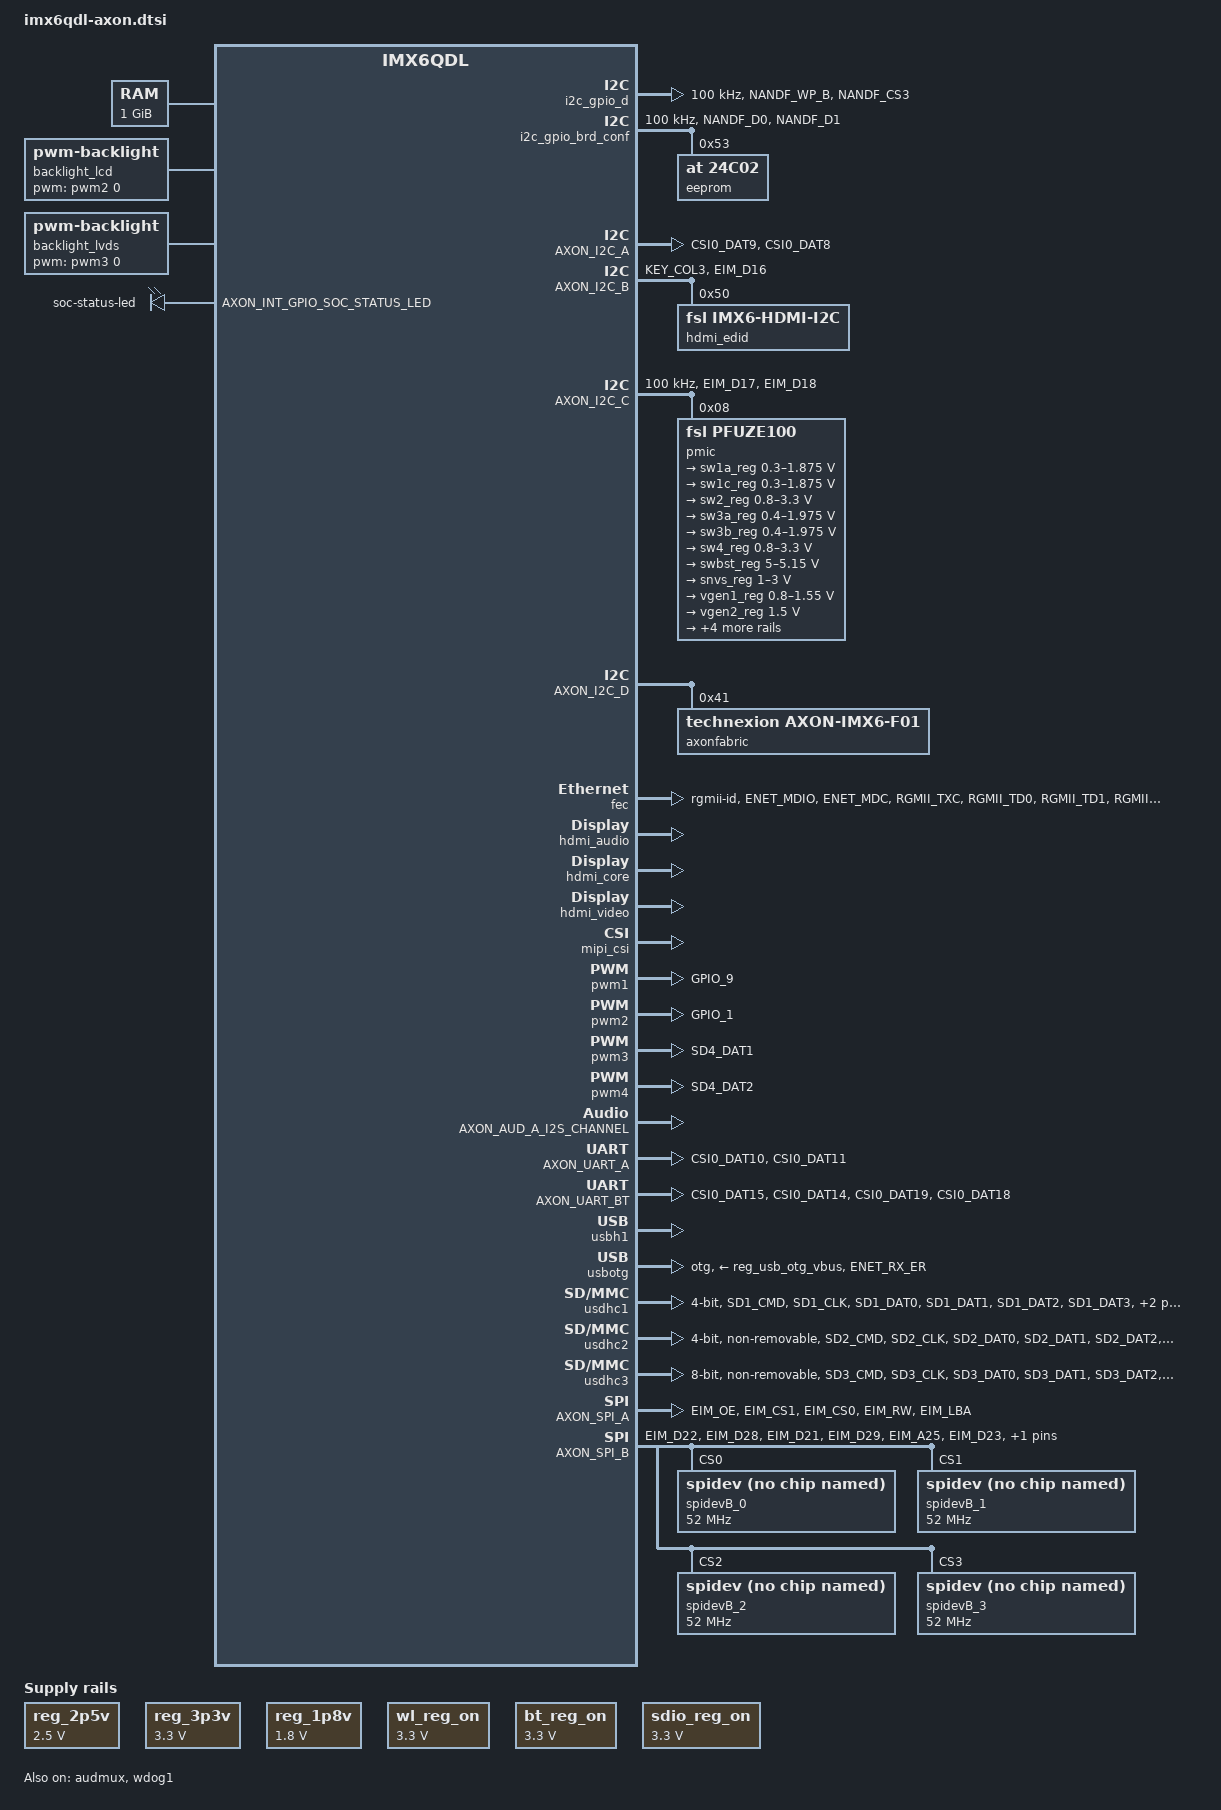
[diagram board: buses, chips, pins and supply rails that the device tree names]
/*
 * Copyright 2018 Technexion Ltd.
 *
 * Author: Tapani Utriainen <tapani@technexion.com>
 *         Richard Hu <richard.hu@technexion.com>
 * This program is free software; you can redistribute it and/or modify
 * it under the terms of the GNU General Public License version 2 as
 * published by the Free Software Foundation.
 *
 */

#include <dt-bindings/gpio/gpio.h>
#include "imx6qdl-axon-definitions.dtsi"

/ {
	aliases {
		mxcfb0 = &mxcfb1;
		mxcfb1 = &mxcfb2;
		mxcfb2 = &mxcfb3;
		mxcfb3 = &mxcfb4;
	};

	chosen {
		stdout-path = &uart1;
	};

	memory: memory {
		reg = <0x10000000 0x40000000>;
	};

	/* Optional use of gpio-reset device to control
	   the fabric reset. Be aware that using this device
	   delays the initialization of the axonfabric until
	   much later in the boot process */
	fabric_reset: fabric_reset {
		compatible = "gpio-reset";
		pinctrl-names = "default";
		pinctrl-0 = <&pinctrl_fabric_reset>;
		reset-gpios = <AXON_INT_GPIO_FABRIC_RESET_N GPIO_ACTIVE_LOW>;
		reset-delay-us = <2000>;
		#reset-cells = <0>;
		status="disabled";
	};

	regulators {
		compatible = "simple-bus";
		#address-cells = <1>;
		#size-cells = <0>;

		reg_2p5v: regulator@0 {
			compatible = "regulator-fixed";
			reg = <0>;
			regulator-name = "2P5V";
			regulator-min-microvolt = <2500000>;
			regulator-max-microvolt = <2500000>;
			regulator-always-on;
		};

		reg_3p3v: regulator@1 {
			compatible = "regulator-fixed";
			reg = <1>;
			regulator-name = "3P3V";
			regulator-min-microvolt = <3300000>;
			regulator-max-microvolt = <3300000>;
			regulator-always-on;
		};

		reg_1p8v: 1p8v {
			compatible = "regulator-fixed";
			reg = <2>;
			regulator-name = "1P8V";
			regulator-min-microvolt = <1800000>;
			regulator-max-microvolt = <1800000>;
			regulator-always-on;
		};

		wl_reg_on: wlreg_on {
			compatible = "regulator-fixed";
			regulator-min-microvolt = <3300000>;
			regulator-max-microvolt = <3300000>;
			regulator-name = "wlreg_on";
			pinctrl-names = "default";
			pinctrl-0 = <&pinctrl_wifi_ctrl>;
			gpio = <AXON_INT_GPIO_WL_REG_ON GPIO_ACTIVE_HIGH>;
			enable-active-high;
			regulator-always-on;
		};

		bt_reg_on: btreg_on {
			compatible = "regulator-fixed";
			regulator-min-microvolt = <3300000>;
			regulator-max-microvolt = <3300000>;
			regulator-name = "btreg_on";
			pinctrl-names = "default";
			pinctrl-0 = <&pinctrl_bt_ctrl>;
			gpio = <AXON_INT_GPIO_BT_REG_ON GPIO_ACTIVE_HIGH>;
			enable-active-high;
			regulator-always-on;
		};

		sdio_reg_on: sdioreg_on {
			compatible = "regulator-fixed";
			regulator-min-microvolt = <3300000>;
			regulator-max-microvolt = <3300000>;
			regulator-name = "sdioreg_on";
			pinctrl-names = "default";
			pinctrl-0 = <&pinctrl_sdioreg_ctrl>;
			gpio = <AXON_INT_GPIO_SDIO_REG_ON GPIO_ACTIVE_HIGH>;
			enable-active-high;
			regulator-always-on;
		};

		reg_usdhc1_vmmc: regulator-usdhc1 {
			compatible = "regulator-fixed";
			pinctrl-names = "default";
			pinctrl-0 = <&pinctrl_usdhc1_pwr>;
			regulator-name = "SD_3V3";
			regulator-min-microvolt = <3300000>;
			regulator-max-microvolt = <3300000>;
			gpio = <AXON_EXT_GPIO_X2_P24 GPIO_ACTIVE_HIGH>;
			off-on-delay = <20000>;
			enable-active-high;
			status = "disabled";
		};
	};

	sound-hdmi {
		compatible = "fsl,imx6q-audio-hdmi", "fsl,imx-audio-hdmi";
		model = "imx-audio-hdmi";
		hdmi-controller = <&hdmi_audio>;
	};

	mxcfb1: fb@0 {
		compatible = "fsl,mxc_sdc_fb";
		disp_dev = "ldb";
		interface_pix_fmt = "RGB24";
		default_bpp = <32>;
		int_clk = <0>;
		late_init = <0>;
		status = "okay";
	};

	mxcfb2: fb@1 {
		compatible = "fsl,mxc_sdc_fb";
		disp_dev = "hdmi";
		interface_pix_fmt = "RGB24";
		mode_str ="1920x1080M@60";
		default_bpp = <32>;
		int_clk = <0>;
		late_init = <0>;
		status = "okay";
	};

	mxcfb3: fb@2 {
		status = "disabled";
	};

	mxcfb4: fb@3 {
		compatible = "fsl,mxc_sdc_fb";
		disp_dev = "ldb";
		interface_pix_fmt = "RGB24";
		default_bpp = <32>;
		int_clk = <0>;
		late_init = <0>;
		status = "disabled";
	};

	lcd@0 {
		compatible = "fsl,lcd";
		ipu_id = <0>;
		disp_id = <0>;
		default_ifmt = "RGB24";
		pinctrl-names = "default";
		pinctrl-0 = <&pinctrl_ipu1>;
		status = "okay";
	};

	backlight_lcd {
		compatible = "pwm-backlight";
		pwms = <&pwm2 0 50000>;
		brightness-levels = <0 36 72 108 144 180 216 255>;
		default-brightness-level = <6>;
	};

	backlight_lvds {
		compatible = "pwm-backlight";
		pwms = <&pwm3 0 5000000>;
		brightness-levels = <0 4 8 16 32 64 128 255>;
		default-brightness-level = <7>;
	};

	v4l2_cap_0 {
		compatible = "fsl,imx6q-v4l2-capture";
		ipu_id = <0>;
		csi_id = <0>;
		mclk_source = <0>;
		status = "okay";
	};

	v4l2_out {
		compatible = "fsl,mxc_v4l2_output";
		status = "okay";
	};

	i2c_gpio_d: i2c_gpio_d {
		compatible = "i2c-gpio";
		#address-cells = <1>;
		#size-cells = <0>;
		pinctrl-names = "default";
		pinctrl-0 = <&pinctrl_axon_i2c_d>;
		gpios = <
			AXON_I2C_D_SDA GPIO_ACTIVE_HIGH /* SDA */
			AXON_I2C_D_SCL GPIO_ACTIVE_HIGH /* SCL */
		>;

		clock-frequency = <100000>;
		status = "okay";

	};

	i2c_gpio_brd_conf: i2c_gpio_brd_conf {
		compatible = "i2c-gpio";
		#address-cells = <1>;
		#size-cells = <0>;
		pinctrl-names = "default";
		pinctrl-0 = <&pinctrl_axon_i2c_brd_conf>;
		gpios = <
			AXON_I2C_BRD_CONF_SDA GPIO_ACTIVE_HIGH /* SDA */
			AXON_I2C_BRD_CONF_SCL GPIO_ACTIVE_HIGH /* SCL */
		>;
		clock-frequency = <100000>;
		status = "okay";

		eeprom: eeprom@53 {
			compatible = "at,24c02";
			reg = <0x53>;
		};
	};

	/* SOC Status LED */
	soc-status-led {
		compatible = "gpio-leds";
		led {
			label = "soc-status-led";
			gpios = <AXON_INT_GPIO_SOC_STATUS_LED GPIO_ACTIVE_HIGH>;
			dir   = "out";
		};
	};
};

&snvs_poweroff {
	status = "okay";
};

&audmux {
	pinctrl-names = "default";
	pinctrl-0 = <&pinctrl_audmux>;
	status = "okay";
};

&AXON_I2C_A {
	pinctrl-names = "default";
	pinctrl-0 = <&pinctrl_axon_i2c_a>;
	status = "okay";
};

&AXON_I2C_B {
	pinctrl-names = "default";
	pinctrl-0 = <&pinctrl_axon_i2c_b>;
	status = "okay";

	hdmi_edid: edid@50 {
		compatible = "fsl,imx6-hdmi-i2c";
		reg = <0x50>;
	};
};

&AXON_I2C_C {
    clock-frequency = <100000>;
	pinctrl-names = "default";
	pinctrl-0 = <&pinctrl_axon_i2c_c>;
	status = "okay";

	pmic: pfuze100@08 {
		compatible = "fsl,pfuze100";
		reg = <0x08>;

		regulators {
			sw1a_reg: sw1ab {
				regulator-min-microvolt = <300000>;
				regulator-max-microvolt = <1875000>;
				regulator-boot-on;
				regulator-always-on;
				regulator-ramp-delay = <6250>;
			};

			sw1c_reg: sw1c {
				regulator-min-microvolt = <300000>;
				regulator-max-microvolt = <1875000>;
				regulator-boot-on;
				regulator-always-on;
				regulator-ramp-delay = <6250>;
			};

			sw2_reg: sw2 {
				regulator-min-microvolt = <800000>;
				regulator-max-microvolt = <3300000>;
				regulator-boot-on;
				regulator-always-on;
				regulator-ramp-delay = <6250>;
			};

			sw3a_reg: sw3a {
				regulator-min-microvolt = <400000>;
				regulator-max-microvolt = <1975000>;
				regulator-boot-on;
				regulator-always-on;
			};

			sw3b_reg: sw3b {
				regulator-min-microvolt = <400000>;
				regulator-max-microvolt = <1975000>;
				regulator-boot-on;
				regulator-always-on;
			};

			sw4_reg: sw4 {
				regulator-min-microvolt = <800000>;
				regulator-max-microvolt = <3300000>;
			};

			swbst_reg: swbst {
				regulator-min-microvolt = <5000000>;
				regulator-max-microvolt = <5150000>;
			};

			snvs_reg: vsnvs {
				regulator-min-microvolt = <1000000>;
				regulator-max-microvolt = <3000000>;
				regulator-boot-on;
				regulator-always-on;
			};

			vref_reg: vrefddr {
				regulator-boot-on;
				regulator-always-on;
			};

			vgen1_reg: vgen1 {
				regulator-min-microvolt = <800000>;
				regulator-max-microvolt = <1550000>;
			};

			vgen2_reg: vgen2 {
				regulator-min-microvolt = <1500000>;
				regulator-max-microvolt = <1500000>;
				regulator-boot-on;
				regulator-always-on;
			};

			vgen3_reg: vgen3 {
				regulator-min-microvolt = <1800000>;
				regulator-max-microvolt = <3300000>;
				regulator-always-on;
			};

			vgen4_reg: vgen4 {
				regulator-min-microvolt = <1800000>;
				regulator-max-microvolt = <3300000>;
				regulator-always-on;
			};

			vgen5_reg: vgen5 {
				regulator-min-microvolt = <1800000>;
				regulator-max-microvolt = <3300000>;
				regulator-always-on;
			};

			vgen6_reg: vgen6 {
				regulator-min-microvolt = <1800000>;
				regulator-max-microvolt = <3300000>;
				regulator-always-on;
			};
		};
	};
};

&gpio1 {
	gpio-line-names =
		"AUD_B_MCLK", "PWM_X2_P79", "", "GPIO_X3_P69", "FABRIC_GPIO_INT0_N", "FABRIC_GPIO_INT1_N", "GPIO_X3_P67", "CAN_A_TX",
		"CAN_A_RX", "PWM_X1_P39", "", "", "", "", "", "",
		"", "", "", "", "", "", "", "",
		"", "", "", "", "", "", "", "";
};

&gpio2 {
	gpio-line-names =
		"BRD_CONF_SCL", "BRD_CONF_SDA", "", "", "", "", "", "",
		"GPIO_X4_P7", "PWM_X4_P1", "PWM_X4_P2", "DISP0_VDD_EN", "UART_B_RXD", "UART_B_RTS", "UART_B_CTS", "UART_B_TXD",
		"SDIO_REG_ON", "FABRIC_RESET_N", "", "", "", "WL_REG_ON", "SPI_B_CORE_CS_N", "SPI_A_SCLK",
		"SPI_A_MOSI", "SPI_A_MISO", "SPI_A_CS0", "SPI_A_CS1", "GPIO_X1_P68", "GPIO_X1_P70", "", "";
};

&gpio3 {
	gpio-line-names =
		"", "", "", "", "", "", "", "",
		"", "", "", "", "", "", "", "",
		"", "", "", "UART_A_CTS", "UART_A_RTS", "SPI_B_SCLK", "SPI_B_MISO", "SPI_B_FABRIC_CS_N",
		"AUD_B_RXFS", "AUD_B_RXC", "GPIO_X1_P74", "GPIO_X1_P76", "SPI_B_MOSI", "SPI_B_CS0", "GPIO_X1_P78", "GPIO_X1_P80";
};

&gpio4 {
	gpio-line-names =
		"", "", "", "", "", "GPIO_X3_P65", "AUD_B_TXC", "AUD_B_TXD",
		"AUD_B_TXFS", "AUD_B_RXD", "FABRIC_DONE", "", "", "", "CAN_B_TX", "CAN_B_RX",
		"DISP0_CLK", "DISP0_DE", "DISP0_HSYNC", "DISP0_VSYNC", "DISP0_BLT_EN", "DISP0_DAT0", "DISP0_DAT1", "DISP0_DAT2",
		"DISP0_DAT3", "DISP0_DAT4", "DISP0_DAT5", "DISP0_DAT6", "DISP0_DAT7", "DISP0_DAT8", "DISP0_DAT9", "DISP0_DAT10";
};

&gpio5 {
	gpio-line-names =
		"GPIO_X1_P72", "", "SPI_B_CS1", "", "GPIO_X1_P66", "DISP0_DAT11", "DISP0_DAT12", "DISP0_DAT13",
		"DISP0_DAT14", "DISP0_DAT15", "DISP0_DAT16", "DISP0_DAT17", "DISP0_DAT18", "DISP0_DAT19", "DISP0_DAT20", "DISP0_DAT21",
		"DISP0_DAT22", "DISP0_DAT23", "GPIO_X2_P20", "GPIO_X2_P18", "GPIO_X2_P24", "GPIO_X2_P22", "AUD_A_TXCLK", "AUD_A_TXD",
		"AUD_A_TXFS", "AUD_A_RXD", "", "", "UART_A_TXD", "UART_A_RXD", "UART_C_RXD", "UART_C_TXD";
};

&gpio6 {
	gpio-line-names =
		"UART_BT_RXD", "UART_BT_TXD", "UART_C_CTS", "UART_C_RTS", "UART_BT_CTS", "UART_BT_RTS", "BT_REG_ON", "GPIO_X4_P20",
		"GPIO_X4_P19", "", "GPIO_X4_P34", "GPIO_X3_P71", "", "", "SOC_STATUS_LED", "GPIO_X4_P40",
		"", "", "", "", "", "", "", "",
		"", "", "", "", "", "", "", "PMIC_INT_N";
};

&gpio7 {
	gpio-line-names =
		"", "", "", "", "", "", "", "",
		"", "GPIO_X4_P8", "GPIO_X4_P32", "WL_HOST_WAKE", "BT_HOST_WAKE", "", "", "",
		"", "", "", "", "", "", "", "",
		"", "", "", "", "", "", "", "";
};

&AXON_I2C_D {  // I2C_D
	axonfabric: axonfabric@41 {
		reg = <0x41>;
		pinctrl-names = "default";
		compatible = "technexion,axon-imx6-f01";
		pinctrl-0 = <&pinctrl_fabric_reset>;
		reset-gpios = <AXON_INT_GPIO_FABRIC_RESET_N GPIO_ACTIVE_LOW>;
		gpio-controller;
		#gpio-cells = <2>;
		gpio-line-names =
		"F_GPIO_X1_P66", "F_GPIO_X1_P68", "F_GPIO_X1_P70", "F_GPIO_X1_P72", // Bank 0
		"F_GPIO_X1_P74", "F_GPIO_X1_P76", "F_GPIO_X1_P78", "F_GPIO_X1_P80", // Bank 0
		"F_GPIO_X2_P18", "F_GPIO_X2_P20", "F_GPIO_X2_P22", "F_GPIO_X2_P24", // Bank 1
		"F_GPIO_X3_P65", "F_GPIO_X3_P67", "F_GPIO_X3_P69", "F_GPIO_X3_P71", // Bank 1
		"F_GPIO_X4_P7", "F_GPIO_X4_P8", "F_GPIO_X4_P19", "F_GPIO_X4_P20",   // Bank 2
		"F_GPIO_X4_P32", "F_GPIO_X4_P34", "F_GPIO_X4_P40", "",              // Bank 2
		"F_DISP_DAT00", "F_DISP_DAT01", "F_DIST_DAT02", "F_DISP_DAT03",     // Bank 3
		"F_DISP_DAT04", "F_DISP_DAT05", "F_DIST_DAT06", "F_DISP_DAT07",     // Bank 3
		"F_DISP_DAT08", "F_DISP_DAT09", "F_DIST_DAT10", "F_DISP_DAT11",     // Bank 4
		"F_DISP_DAT12", "F_DISP_DAT13", "F_DIST_DAT14", "F_DISP_DAT15",     // Bank 4
		"F_DISP_DAT16", "F_DISP_DAT17", "F_DIST_DAT18", "F_DISP_DAT19",     // Bank 5
		"F_DISP_DAT20", "F_DISP_DAT21", "F_DIST_DAT22", "F_DISP_DAT23",     // Bank 5
		"F_DISP_HSYNC", "F_DISP_VSYNC", "F_DISP_CLK", "F_DISP_BKLEN",       // Bank 6
		"F_DISP_DRDY", "", "", "",                                          // Bank 6
		"F_UART_A_TXD", "F_UART_A_RXD", "F_UART_A_RTS", "F_UART_A_CTS",     // Bank 7
		"F_UART_B_TXD", "F_UART_B_RXD", "F_UART_B_RTS", "F_UART_B_CTS",     // Bank 7
		"F_UART_C_TXD", "F_UART_C_RXD", "F_UART_C_RTS", "F_UART_C_CTS",     // Bank 8
		"F_AUD_A_TXD", "F_AUD_A_TXFS", "F_AUD_A_TXCLK", "F_AUD_A_RXD",      // Bank 8
		"F_SPI_A_MISO", "F_SPI_A_MOSI", "F_SPI_A_SCLK", "F_SPI_A_CS0",      // Bank 9
		"F_SPI_A_CS1", "F_PWM_X1_P39", "F_PWM_X2_P79", "",                  // Bank 9
		"F_SPI_B_MISO", "F_SPI_B_MOSI", "F_SPI_B_SCLK", "F_SPI_B_CS0",      // Bank 10
		"F_SPI_B_CS1", "F_PWM_X4_P1", "F_PWM_X4_P2", "",                    // Bank 10
		"F_UART_BT_TXD", "F_UART_BT_RXD", "F_UART_BT_RTS", "F_UART_BT_CTS", // Bank 11
		"F_CAN_A_TX", "F_CAN_A_RX", "F_CAN_B_TX", "F_CAN_B_RX",             // Bank 11
		"F_AUD_B_TXD", "F_AUD_B_TXFS", "F_AUD_B_TXCLK", "F_AUD_B_RXD",      // Bank 12
		"F_AUD_B_RXFS", "F_AUD_B_RXCLK", "F_AUD_B_MCLK", "";                // Bank 12
		status="okay";
		pinmux_axonfabric: pinmux {
			status = "okay";

 			// SPI_A
			pinctrl_af_spi_a_out: pcspia_out {
				pins = "F_SPI_A_MOSI", "F_SPI_A_SCLK", "F_SPI_A_CS0", "F_SPI_A_CS1"; function = "passthru_out";
				drive-push-pull;
			};

			pinctrl_af_spi_a_in: pcspia_in {
				pins = "F_SPI_A_MISO"; function = "passthru_in"; drive-push-pull;
			};

			// SPI_B
			pinctrl_af_spi_b_out: pcspib_out {
				pins = "F_SPI_B_MOSI", "F_SPI_B_SCLK", "F_SPI_B_CS0", "F_SPI_B_CS1"; function = "passthru_out";
				drive-push-pull;
			};

			pinctrl_af_spi_b_in: pcspib_in {
				pins = "F_SPI_B_MISO"; function = "passthru_in"; drive-push-pull;
			};

			// UART_B
			pinctrl_af_uart_b_txd: pcuartb_txd {
				pins = "F_UART_B_TXD"; function = "passthru_out"; drive-push-pull;
			};

			pinctrl_af_uart_b_rxd: pcuartb_rxd {
				pins = "F_UART_B_RXD"; function = "passthru_in"; drive-push-pull;
			};

			// UART_C
			pinctrl_af_uart_c_txd: pcuartc_txd {
				pins = "F_UART_C_TXD"; function = "passthru_out"; drive-push-pull;
			};

			pinctrl_af_uart_c_rxd: pcuartc_rxd {
				pins = "F_UART_C_RXD"; function = "passthru_in"; drive-push-pull;
			};

			// UART_BT
			pinctrl_af_uart_bt_out: pcuartbt_out {
				pins = "F_UART_BT_TXD", "F_UART_BT_CTS"; function = "passthru_out";
				drive-push-pull;
			};

			pinctrl_af_uart_bt_in: pcuartbt_in {
				pins = "F_UART_BT_RXD", "F_UART_BT_RTS"; function = "passthru_in";
				drive-push-pull;
			};
		};
		gpio_axonfabric: gpio_axonfabric {
			status = "okay";
			compatible = "technexion,axonfabric-gpio";
			pinctrl-names = "default";
			pinctrl-0 = <&pinmux_axonfabric>;
		};
	};
};

&iomuxc {
	pinctrl-names = "default";

	imx6qdl-axon {

		pinctrl_fabric_reset: fabric_resetgrp {
			fsl,pins = <
				MX6QDL_PAD_EIM_A21__GPIO2_IO17     0x000b0 /* RESV_GPIO0 */
			>;
		};

		pinctrl_wifi_ctrl: wifi_ctrlgrp {
			fsl,pins = <
				MX6QDL_PAD_EIM_A17__GPIO2_IO21			0x000b0		  /* WL_REG_ON, EIM_A17 */
				//MX6QDL_PAD_GPIO_16__GPIO7_IO11			0x80000000	/* WL_HOST_WAKE, GPIO_16 */
				//MX6QDL_PAD_ENET_RXD0__XTALOSC_REF_CLK_32K	0x000b0	/* SOC_CLK_32KHZ */
			>;
		};

		pinctrl_bt_ctrl: bt_ctrlgrp {
			fsl,pins = <
				MX6QDL_PAD_EIM_A23__GPIO6_IO06		0x000b0		/* BT_REG_ON, EIM_A23 */
				//MX6QDL_PAD_GPIO_17__GPIO7_IO12   	0x000b0		/* BT_HOST_WAKE, GPIO_17 */
			>;
		};

		pinctrl_sdioreg_ctrl: sdio_ctrlgrp {
			fsl,pins = <
				MX6QDL_PAD_EIM_A22__GPIO2_IO16       0x000b0     /* SDIO_REG_ON, EIM_A22 */
			>;
		};


		pinctrl_pcie_a_reset: pcieagrp {
			fsl,pins = <
				MX6QDL_PAD_ENET_TXD1__GPIO1_IO29 	0x130b0		/* PCIE_A_RST_n */
			>;
		};

		pinctrl_audmux: audmuxgrp {
			fsl,pins = <
				MX6QDL_PAD_CSI0_DAT7__AUD3_RXD		0x130b0   /* AUD_A_RXD */
				MX6QDL_PAD_CSI0_DAT4__AUD3_TXC		0x130b0   /* AUD_A_TXCLK */
				MX6QDL_PAD_CSI0_DAT5__AUD3_TXD		0x110b0   /* AUD_A_TXD */
				MX6QDL_PAD_CSI0_DAT6__AUD3_TXFS		0x130b0   /* AUD_A_TXFS */
			>;
		};

		/* Note for MISO signals between fabric and SOC. It was noticed that the SOC
		   drives its MISO signals even when in master mode. This should not occur, and
		   can cause contention on the signal between the SOC and the fabric. The issue
		   needs to isolated in the spi-imx driver. However, in absence of we can remove
		   the ability of the pad to output a logic value by configuring its DSE bits
		   to 0x00, which forces the output driver into high impedance state */
		pinctrl_axon_spi_a: ecspi2grp {
			fsl,pins = <
				MX6QDL_PAD_EIM_OE__ECSPI2_MISO		0x03000   /* SPI_A_MISO */
				MX6QDL_PAD_EIM_CS1__ECSPI2_MOSI		0x1b0b1   /* SPI_A_MOSI */
				MX6QDL_PAD_EIM_CS0__ECSPI2_SCLK		0x1b0b1   /* SPI_A_SCLK */
				MX6QDL_PAD_EIM_RW__GPIO2_IO26		0x000f0b0   /* SPI_A_CS0 */
				MX6QDL_PAD_EIM_LBA__GPIO2_IO27		0x000f0b0 /* SPI_A_CS1 */
			>;
		};

		pinctrl_axon_spi_b: ecspi4grp {
			fsl,pins = <
				MX6QDL_PAD_EIM_D22__ECSPI4_MISO		0x03000   /* SPI_B_MISO */
				MX6QDL_PAD_EIM_D28__ECSPI4_MOSI		0x100b1   /* SPI_B_MOSI */
				MX6QDL_PAD_EIM_D21__ECSPI4_SCLK		0x100b1   /* SPI_B_SCLK */
				MX6QDL_PAD_EIM_D29__GPIO3_IO29		0x000f0b0 /* SPI_B_CS0 */
				MX6QDL_PAD_EIM_A25__GPIO5_IO02		0x000f0b0 /* SPI_B_CS1 */
				MX6QDL_PAD_EIM_D23__GPIO3_IO23		0x000f0b0 /* SPI_B_FABRIC_CS_n */
				MX6QDL_PAD_EIM_A16__GPIO2_IO22		0x000f0b0 /* SPI_B_CORE_CS_n */
			>;
		};

		pinctrl_enet: enetgrp {
			fsl,pins = <
				MX6QDL_PAD_ENET_MDIO__ENET_MDIO		0x1b0b0
				MX6QDL_PAD_ENET_MDC__ENET_MDC		0x1b0b0
				MX6QDL_PAD_RGMII_TXC__RGMII_TXC		0x1b0b0
				MX6QDL_PAD_RGMII_TD0__RGMII_TD0		0x1b0b0
				MX6QDL_PAD_RGMII_TD1__RGMII_TD1		0x1b0b0
				MX6QDL_PAD_RGMII_TD2__RGMII_TD2		0x1b0b0
				MX6QDL_PAD_RGMII_TD3__RGMII_TD3		0x1b0b0
				MX6QDL_PAD_RGMII_TX_CTL__RGMII_TX_CTL	0x1b0b0
				MX6QDL_PAD_ENET_REF_CLK__ENET_TX_CLK	0x1b0b0
				MX6QDL_PAD_RGMII_RXC__RGMII_RXC		0x1b0b0
				MX6QDL_PAD_RGMII_RD0__RGMII_RD0		0x1b0b0
				MX6QDL_PAD_RGMII_RD1__RGMII_RD1		0x1b0b0
				MX6QDL_PAD_RGMII_RD2__RGMII_RD2		0x1b0b0
				MX6QDL_PAD_RGMII_RD3__RGMII_RD3		0x1b0b0
				MX6QDL_PAD_RGMII_RX_CTL__RGMII_RX_CTL	0x1b0b0
				MX6QDL_PAD_ENET_RXD1__GPIO1_IO26	0x1f0b1		/* RGMII PHY reset */
			>;
		};

		pinctrl_axon_i2c_a: i2c1grp {
			fsl,pins = <
				MX6QDL_PAD_CSI0_DAT9__I2C1_SCL 		0x4001b8b1  /* I2C_A_SCL */
				MX6QDL_PAD_CSI0_DAT8__I2C1_SDA 		0x4001b8b1  /* I2C_A_SDA */
			>;
		};

		pinctrl_axon_i2c_b: i2c2grp {
			fsl,pins = <
				MX6QDL_PAD_KEY_COL3__I2C2_SCL		0x4001b8b1    /* I2C_B_SCL */
				MX6QDL_PAD_EIM_D16__I2C2_SDA		0x4001b8b1    /* I2C_B_SDA */
			>;
		};

		pinctrl_axon_i2c_c: i2c3grp {
			fsl,pins = <
				MX6QDL_PAD_EIM_D17__I2C3_SCL		0x4001b8b1    /* I2C_C_SCL */
				MX6QDL_PAD_EIM_D18__I2C3_SDA		0x4001b8b1    /* I2C_C_SDA */
			>;
		};

		pinctrl_axon_i2c_d: i2c4grp {
			fsl,pins = <
				MX6QDL_PAD_NANDF_WP_B__GPIO6_IO09	0x4001b8b1  /* I2C_D_SCL, bitbang */
				MX6QDL_PAD_NANDF_CS3__GPIO6_IO16	0x4001b8b1  /* I2C_D_SDA, bitbang */
			>;
		};

		pinctrl_axon_i2c_brd_conf: i2cbrdconfgrp {
			fsl,pins = <
				MX6QDL_PAD_NANDF_D0__GPIO2_IO00	    0x4001b8b1  /* BRD_CONF_SCL, bitbang */
				MX6QDL_PAD_NANDF_D1__GPIO2_IO01 	0x4001b8b1  /* BRD_CONF_SDA, bitbang */
			>;
		};

		pinctrl_ipu1: ipu1grp {
			fsl,pins = <
				MX6QDL_PAD_DI0_DISP_CLK__IPU1_DI0_DISP_CLK 0x10
				MX6QDL_PAD_DI0_PIN15__IPU1_DI0_PIN15       0x10
				MX6QDL_PAD_DI0_PIN2__IPU1_DI0_PIN02        0x10
				MX6QDL_PAD_DI0_PIN3__IPU1_DI0_PIN03        0x10
				MX6QDL_PAD_DI0_PIN4__IPU1_DI0_PIN04        0x80000000
				MX6QDL_PAD_DISP0_DAT0__IPU1_DISP0_DATA00   0x10
				MX6QDL_PAD_DISP0_DAT1__IPU1_DISP0_DATA01   0x10
				MX6QDL_PAD_DISP0_DAT2__IPU1_DISP0_DATA02   0x10
				MX6QDL_PAD_DISP0_DAT3__IPU1_DISP0_DATA03   0x10
				MX6QDL_PAD_DISP0_DAT4__IPU1_DISP0_DATA04   0x10
				MX6QDL_PAD_DISP0_DAT5__IPU1_DISP0_DATA05   0x10
				MX6QDL_PAD_DISP0_DAT6__IPU1_DISP0_DATA06   0x10
				MX6QDL_PAD_DISP0_DAT7__IPU1_DISP0_DATA07   0x10
				MX6QDL_PAD_DISP0_DAT8__IPU1_DISP0_DATA08   0x10
				MX6QDL_PAD_DISP0_DAT9__IPU1_DISP0_DATA09   0x10
				MX6QDL_PAD_DISP0_DAT10__IPU1_DISP0_DATA10  0x10
				MX6QDL_PAD_DISP0_DAT11__IPU1_DISP0_DATA11  0x10
				MX6QDL_PAD_DISP0_DAT12__IPU1_DISP0_DATA12  0x10
				MX6QDL_PAD_DISP0_DAT13__IPU1_DISP0_DATA13  0x10
				MX6QDL_PAD_DISP0_DAT14__IPU1_DISP0_DATA14  0x10
				MX6QDL_PAD_DISP0_DAT15__IPU1_DISP0_DATA15  0x10
				MX6QDL_PAD_DISP0_DAT16__IPU1_DISP0_DATA16  0x10
				MX6QDL_PAD_DISP0_DAT17__IPU1_DISP0_DATA17  0x10
				MX6QDL_PAD_DISP0_DAT18__IPU1_DISP0_DATA18  0x10
				MX6QDL_PAD_DISP0_DAT19__IPU1_DISP0_DATA19  0x10
				MX6QDL_PAD_DISP0_DAT20__IPU1_DISP0_DATA20  0x10
				MX6QDL_PAD_DISP0_DAT21__IPU1_DISP0_DATA21  0x10
				MX6QDL_PAD_DISP0_DAT22__IPU1_DISP0_DATA22  0x10
				MX6QDL_PAD_DISP0_DAT23__IPU1_DISP0_DATA23  0x10
			>;
		};

		pinctrl_pwm1: pwm1grp {
			fsl,pins = <
				MX6QDL_PAD_GPIO_9__PWM1_OUT		0x1b0b1      /* PWM_X1_P39 */
			>;
		};

		pinctrl_pwm2: pwm2grp {
			fsl,pins = <
				MX6QDL_PAD_GPIO_1__PWM2_OUT		0x1b0b1      /* PWM_X2_P79 */
			>;
		};

		pinctrl_pwm3: pwm3grp {
			fsl,pins = <
				MX6QDL_PAD_SD4_DAT1__PWM3_OUT		0x1b0b1    /* PWM_X4_P1 */
			>;
		};

		pinctrl_pwm4: pwm4grp {
			fsl,pins = <
				MX6QDL_PAD_SD4_DAT2__PWM4_OUT		0x1b0b1    /* PWM_X4_P2 */
			>;
		};

		pinctrl_axon_uart_a: uart1grp {
				fsl,pins = <
						MX6QDL_PAD_CSI0_DAT10__UART1_TX_DATA    0x1b0b1 /* UART_A_TXD */
						MX6QDL_PAD_CSI0_DAT11__UART1_RX_DATA    0x1b0b1 /* UART_A_RXD */
				>;
		};

		pinctrl_axon_uart_a_rtscts: uart1rtsctsgrp {
			fsl,pins = <
				MX6QDL_PAD_CSI0_DAT10__UART1_TX_DATA	0x1b0b1 /* UART_A_TXD */
				MX6QDL_PAD_CSI0_DAT11__UART1_RX_DATA	0x1b0b1 /* UART_A_RXD */
				MX6QDL_PAD_EIM_D20__UART1_RTS_B         0x1b0b1 /* UART_A_RTS */
				MX6QDL_PAD_EIM_D19__UART1_CTS_B		0x1b0b1 /* UART_A_CTS */
			>;
		};

		pinctrl_axon_uart_b: uart2grp {
				fsl,pins = <
						MX6QDL_PAD_SD4_DAT4__UART2_RX_DATA      0x1b0b1   /* UART_B_RXD */
						MX6QDL_PAD_SD4_DAT7__UART2_TX_DATA      0x1b0b1   /* UART_B_TXD */
				>;
		};

		pinctrl_axon_uart_b_rtscts: uart2rtsctsgrp {
			fsl,pins = <
				MX6QDL_PAD_SD4_DAT4__UART2_RX_DATA	0x1b0b1   /* UART_B_RXD */
				MX6QDL_PAD_SD4_DAT5__UART2_RTS_B	0x1b0b1     /* UART_B_RTS */
				MX6QDL_PAD_SD4_DAT6__UART2_CTS_B	0x1b0b1     /* UART_B_CTS */
				MX6QDL_PAD_SD4_DAT7__UART2_TX_DATA	0x1b0b1   /* UART_B_TXD */
			>;
		};

		pinctrl_axon_uart_c: uart4grp {
			fsl,pins = <
				MX6QDL_PAD_CSI0_DAT13__UART4_TX_DATA    0x1b0b1 /* UART_C_TXD */
				MX6QDL_PAD_CSI0_DAT12__UART4_RX_DATA    0x1b0b1 /* UART_C_RXD */
			>;
		};

		pinctrl_axon_uart_c_rtscts: uart4rtsctsgrp {
			fsl,pins = <
				MX6QDL_PAD_CSI0_DAT13__UART4_TX_DATA	0x1b0b1 /* UART_C_TXD */
				MX6QDL_PAD_CSI0_DAT12__UART4_RX_DATA	0x1b0b1 /* UART_C_RXD */
				MX6QDL_PAD_CSI0_DAT16__UART4_CTS_B 		0x1b0b1 /* UART_C_RTS */
				MX6QDL_PAD_CSI0_DAT17__UART4_RTS_B		0x1b0b1 /* UART_C_CTS */
			>;
		};

		pinctrl_axon_uart_bt: uart5grp {
			fsl,pins = <
				MX6QDL_PAD_CSI0_DAT15__UART5_TX_DATA	0x1b0b1 /* UART_BT_TXD */
				MX6QDL_PAD_CSI0_DAT14__UART5_RX_DATA  0x1b0b1 /* UART_BT_RXD */
				MX6QDL_PAD_CSI0_DAT19__UART5_RTS_B    0x1b0b1 /* UART_BT_RTS */
				MX6QDL_PAD_CSI0_DAT18__UART5_CTS_B		0x1b0b1 /* UART_BT_CTS */
			>;
		};

		pinctrl_usbotg: usbotggrp {
			fsl,pins = <
				MX6QDL_PAD_ENET_RX_ER__USB_OTG_ID	0x17059     /* USB_A_ID */
			>;
		};

		pinctrl_usdhc1_pwr: usdhc1rstgrp {
			fsl,pins = <
				MX6QDL_PAD_CSI0_DATA_EN__GPIO5_IO20	0x4001b0b5   /* GPIO_X2_P24 */
			>;
		};

		pinctrl_usdhc1: usdhc1grp {
			fsl,pins = <
				MX6QDL_PAD_SD1_CMD__SD1_CMD		0x17071
				MX6QDL_PAD_SD1_CLK__SD1_CLK		0x17071
				MX6QDL_PAD_SD1_DAT0__SD1_DATA0		0x17071
				MX6QDL_PAD_SD1_DAT1__SD1_DATA1		0x17071
				MX6QDL_PAD_SD1_DAT2__SD1_DATA2		0x17071
				MX6QDL_PAD_SD1_DAT3__SD1_DATA3		0x17071
				MX6QDL_PAD_GPIO_2__GPIO1_IO02		0x80000000	/* USDHC1 CD */
			>;
		};

		pinctrl_usdhc2: usdhc2grp {
			fsl,pins = <
				MX6QDL_PAD_SD2_CMD__SD2_CMD		0x17059
				MX6QDL_PAD_SD2_CLK__SD2_CLK		0x10059
				MX6QDL_PAD_SD2_DAT0__SD2_DATA0		0x17059
				MX6QDL_PAD_SD2_DAT1__SD2_DATA1		0x17059
				MX6QDL_PAD_SD2_DAT2__SD2_DATA2		0x17059
				MX6QDL_PAD_SD2_DAT3__SD2_DATA3		0x17059
			>;
		};

		pinctrl_usdhc3: usdhc3grp {
			fsl,pins = <
				MX6QDL_PAD_SD3_CMD__SD3_CMD		0x17059
				MX6QDL_PAD_SD3_CLK__SD3_CLK		0x10059
				MX6QDL_PAD_SD3_DAT0__SD3_DATA0		0x17059
				MX6QDL_PAD_SD3_DAT1__SD3_DATA1		0x17059
				MX6QDL_PAD_SD3_DAT2__SD3_DATA2		0x17059
				MX6QDL_PAD_SD3_DAT3__SD3_DATA3		0x17059
				MX6QDL_PAD_SD3_DAT4__SD3_DATA4		0x17059
				MX6QDL_PAD_SD3_DAT5__SD3_DATA5		0x17059
				MX6QDL_PAD_SD3_DAT6__SD3_DATA6		0x17059
				MX6QDL_PAD_SD3_DAT7__SD3_DATA7		0x17059
			>;
		};

		pinctrl_flexcan1: flexcan1grp {
			fsl,pins = <
				MX6QDL_PAD_GPIO_7__FLEXCAN1_TX	0x80000000    /* CAN_A_TX */
				MX6QDL_PAD_GPIO_8__FLEXCAN1_RX 	0x80000000    /* CAN_A_RX */
			>;
		};

		pinctrl_flexcan2: flexcan2grp {
			fsl,pins = <
				MX6QDL_PAD_KEY_COL4__FLEXCAN2_TX	0x80000000  /* CAN_B_TX */
				MX6QDL_PAD_KEY_ROW4__FLEXCAN2_RX	0x80000000  /* CAN_B_RX */
			>;
		};

		pinctrl_mipi_csi: mipicsigrp {
			fsl,pins = <
				MX6QDL_PAD_GPIO_6__GPIO1_IO06		0x0b0b0		/* ov5640 mipi powerdown */
				MX6QDL_PAD_GPIO_19__GPIO4_IO05		0x0b0b0		/* ov5640 mipi reset */
				MX6QDL_PAD_GPIO_3__CCM_CLKO2		0x000b0		/* ov5640 mclk */
			>;
		};

		pinctrl_gpio_x1_p19: gpiox1p19grp {
			fsl,pins = <
				MX6QDL_PAD_EIM_D20__GPIO3_IO20      0x4001b0b5 /* GPIO_X1_P19 */
			>;
		};

		pinctrl_gpio_x1_p21: gpiox1p21grp {
			fsl,pins = <
				MX6QDL_PAD_EIM_D19__GPIO3_IO19      0x4001b0b5 /* GPIO_X1_P21 */
			>;
		};

		pinctrl_gpio_x1_p66: gpiox1p66grp {
			fsl,pins = <
				MX6QDL_PAD_EIM_A24__GPIO5_IO04	    0x4001b0b5 /* GPIO_X1_P66, EIM_A24 */
			>;
		};

		pinctrl_gpio_x1_p68: gpiox1p68grp {
			fsl,pins = <
				MX6QDL_PAD_EIM_EB0__GPIO2_IO28	    0x4001b0b5 /* GPIO_X1_P68, EIM_EB0 */
			>;
		};

		pinctrl_gpio_x1_p70: gpiox1p70grp {
			fsl,pins = <
				MX6QDL_PAD_EIM_EB1__GPIO2_IO29	    0x4001b0b5 /* GPIO_X1_P70, EIM_EB1 */
			>;
		};

		pinctrl_gpio_x1_p72: gpiox1p72grp {
			fsl,pins = <
				MX6QDL_PAD_EIM_WAIT__GPIO5_IO00	    0x4001b0b5 /* GPIO_X1_P72, EIM_WAIT */
			>;
		};

		pinctrl_gpio_x1_p74: gpiox1p74grp {
			fsl,pins = <
				MX6QDL_PAD_EIM_D26__GPIO3_IO26	    0x4001b0b5 /* GPIO_X1_P74 */
			>;
		};

		pinctrl_gpio_x1_p76: gpiox1p76grp {
			fsl,pins = <
				MX6QDL_PAD_EIM_D27__GPIO3_IO27	    0x4001b0b5 /* GPIO_X1_P76 */
			>;
		};

		pinctrl_gpio_x1_p78: gpiox1p78grp {
			fsl,pins = <
				MX6QDL_PAD_EIM_D30__GPIO3_IO30	    0x4001b0b5 /* GPIO_X1_P78 */
			>;
		};

		pinctrl_gpio_x1_p80: gpiox1p80grp {
			fsl,pins = <
				MX6QDL_PAD_EIM_D31__GPIO3_IO31  	0x4001b0b5 /* GPIO_X1_P80 */
			>;
		};

		pinctrl_gpio_x2_p18: gpiox2p18grp {
			fsl,pins = <
				MX6QDL_PAD_CSI0_MCLK__GPIO5_IO19    0x4001b0b5 /* GPIO_X2_P18 */
			>;
		};

		pinctrl_gpio_x2_p20: gpiox2p20grp {
			fsl,pins = <
				MX6QDL_PAD_CSI0_PIXCLK__GPIO5_IO18  0x4001b0b5 /* GPIO_X2_P20 */
			>;
		};

		pinctrl_gpio_x2_p22: gpiox2p22grp {
			fsl,pins = <
				MX6QDL_PAD_EIM_A19__GPIO2_IO19	    0x4001b0b5 /* GPIO_X2_P22 */
			>;
		};

		pinctrl_gpio_x2_p24: gpiox2p24grp {
			fsl,pins = <
				MX6QDL_PAD_CSI0_VSYNC__GPIO5_IO21   0x4001b0b5 /* GPIO_X2_P24 */
			>;
		};

		pinctrl_gpio_x3_p65: gpiox3p65grp {
			fsl,pins = <
				MX6QDL_PAD_GPIO_19__GPIO4_IO05	    0x4001b0b5 /* GPIO_X3_P65 */
			>;
		};

		pinctrl_gpio_x3_p67: gpiox3p67grp {
			fsl,pins = <
				MX6QDL_PAD_GPIO_6__GPIO1_IO06	    0x4001b0b5 /* GPIO_X3_P67 */
			>;
		};

		pinctrl_gpio_x3_p69: gpiox3p69grp {
			fsl,pins = <
				MX6QDL_PAD_GPIO_3__GPIO1_IO03	    0x4001b0b5 /* GPIO_X3_P69 */
			>;
		};

		pinctrl_gpio_x3_p71: gpiox3p71grp {
			fsl,pins = <
				MX6QDL_PAD_NANDF_CS0__GPIO6_IO11    0x4001b0b5 /* GPIO_X3_P71 */
			>;
		};
	};
};

&clks {
	fsl,ldb-di0-parent = <&clks IMX6QDL_CLK_PLL2_PFD0_352M>;
	fsl,ldb-di1-parent = <&clks IMX6QDL_CLK_PLL2_PFD0_352M>;
};

&fec {
	pinctrl-names = "default";
	pinctrl-0 = <&pinctrl_enet>;
	phy-mode = "rgmii-id";
	phy-reset-gpios = <&gpio1 26 GPIO_ACTIVE_LOW>;
	fsl,magic-packet;
	status = "okay";
};

&hdmi_audio {
	status = "okay";
};

&hdmi_core {
	ipu_id = <0>;
	disp_id = <1>;
	status = "okay";
};

&hdmi_video {
	fsl,phy_reg_vlev = <0x0294>;
	fsl,phy_reg_cksymtx = <0x800d>;
	status = "okay";
};
/* This is for 7" LVDS panel
&ldb {
	status = "okay";
	lvds-channel@0 {
		fsl,data-mapping = "spwg";
		fsl,data-width = <24>;
		primary;
		status = "okay";

		display-timings {
			native-mode = <&timing0>;
			timing0: hj070na {
				clock-frequency = <51000000>;
				hactive = <1024>;
				vactive = <600>;
				hback-porch = <90>;
				hfront-porch = <120>;
				vback-porch = <1>;
				vfront-porch = <1>;
				hsync-len = <100>;
				vsync-len = <33>;
			};
		};
	};
};
*/
&mipi_csi {
	ipu_id = <0>;
	csi_id = <0>;
	v_channel = <0>;
	lanes = <2>;
	status = "okay";
};

&pwm1 {
	pinctrl-names = "default";
	pinctrl-0 = <&pinctrl_pwm1>;
	status = "okay";
};

&pwm2 {
	pinctrl-names = "default";
	pinctrl-0 = <&pinctrl_pwm2>;
	status = "okay";
};

&pwm3 {
	pinctrl-names = "default";
	pinctrl-0 = <&pinctrl_pwm3>;
	status = "okay";
};

&pwm4 {
	pinctrl-names = "default";
	pinctrl-0 = <&pinctrl_pwm4>;
	status = "okay";
};

&AXON_PCIE_A {
	pinctrl-names = "default";
	pinctrl-0 = <&pinctrl_pcie_a_reset>;
	reset-gpio = <AXON_EXT_GPIO_PCIE_A_RESET GPIO_ACTIVE_HIGH>;
	status = "disabled";
};

&AXON_AUD_A_I2S_CHANNEL {
	status = "okay";
};

&AXON_UART_A {
	pinctrl-names = "default";
	pinctrl-0 = <&pinctrl_axon_uart_a>;
	status = "okay";
};

&AXON_UART_B {
	pinctrl-names = "default";
	pinctrl-0 = <&pinctrl_axon_uart_b>;
	status = "disabled";
};

&AXON_UART_C {
	pinctrl-names = "default";
	pinctrl-0 = <&pinctrl_axon_uart_c>;
	status = "disabled";
};

&AXON_UART_BT {
	pinctrl-names = "default";
	pinctrl-0 = <&pinctrl_axon_uart_bt>;
	uart-has-rtscts;
	fsl,dte-mode;
	status = "okay";
};

&usbh1 {
	status = "okay";
};

&usbotg {
	vbus-supply = <&reg_usb_otg_vbus>;
	pinctrl-names = "default";
	pinctrl-0 = <&pinctrl_usbotg>;
	disable-over-current;
	dr_mode = "otg";
	status = "okay";
};

&usdhc1 {
	pinctrl-names = "default";
	pinctrl-0 = <&pinctrl_usdhc1>;
	bus-width = <4>;
	cd-gpios = <&gpio1 2 GPIO_ACTIVE_LOW>;
	status = "okay";
};

&usdhc2 {  /* Wifi/BT  */
	pinctrl-names = "default";
	pinctrl-0 = <&pinctrl_usdhc2>;
	bus-width = <4>;
	no-1-8-v;
	keep-power-in-suspend;
	non-removable;
	pm-ignore-notify;
	wifi-host;
	status = "okay";
};

&usdhc3 { /* eMMC */
	pinctrl-names = "default";
	pinctrl-0 = <&pinctrl_usdhc3>;
	bus-width = <8>;
	//cd-gpios = <&gpio1 2 GPIO_ACTIVE_LOW>;
	// uncomment the following when ready to check eMMC
	non-removable;
	//cd-post;
	pm-ignore-notify;
	status = "okay";
};

&wdog1 {
	status = "okay";
};

&AXON_SPI_A {
	fsl,spi-num-chipselects = <1>;
	cs-gpios = <&gpio2 27 0>, /* CS0 */
	           <&gpio2 26 0>; /* CS1 */
	pinctrl-names = "default";
	pinctrl-0 = <&pinctrl_axon_spi_a>;
	status = "okay";
};

&AXON_SPI_B {
	cs-gpios =  <AXON_EXT_GPIO_SPI_B_CS0         GPIO_ACTIVE_LOW>,
				<AXON_EXT_GPIO_SPI_B_CS1         GPIO_ACTIVE_LOW>,
				<AXON_EXT_GPIO_SPI_B_FABRIC_CS_N GPIO_ACTIVE_LOW>,
				<AXON_EXT_GPIO_SPI_B_CORE_CS_N   GPIO_ACTIVE_LOW>;
	fsl,spi-num-chipselects = <4>;
	pinctrl-names = "default";
	pinctrl-0 = <&pinctrl_axon_spi_b>;
	status = "okay";

	spidevB_0: spidev@0 {
		compatible = "spidev","rohm,dh2228fv";
		spi-max-frequency = <52000000>;
		reg = <0>;
		status = "okay";
		};
	spidevB_1: spidev@1 {
		compatible = "spidev","rohm,dh2228fv";
		spi-max-frequency = <52000000>;
		reg = <1>;
		status = "okay";
		};
	spidevB_2: spidev@2 {
		compatible = "spidev","rohm,dh2228fv";
		spi-max-frequency = <52000000>;
		reg = <2>;
		status = "okay";
		};
	spidevB_3: spidev@3 {
		compatible = "spidev","rohm,dh2228fv";
		spi-max-frequency = <52000000>;
		reg = <3>;
		status = "okay";
		};
};

&AXON_CAN_A {
	pinctrl-names = "default";
	pinctrl-0 = <&pinctrl_flexcan1>;
	status = "disabled";
};

&AXON_CAN_B {
	pinctrl-names = "default";
	pinctrl-0 = <&pinctrl_flexcan2>;
	status = "disabled";
};
